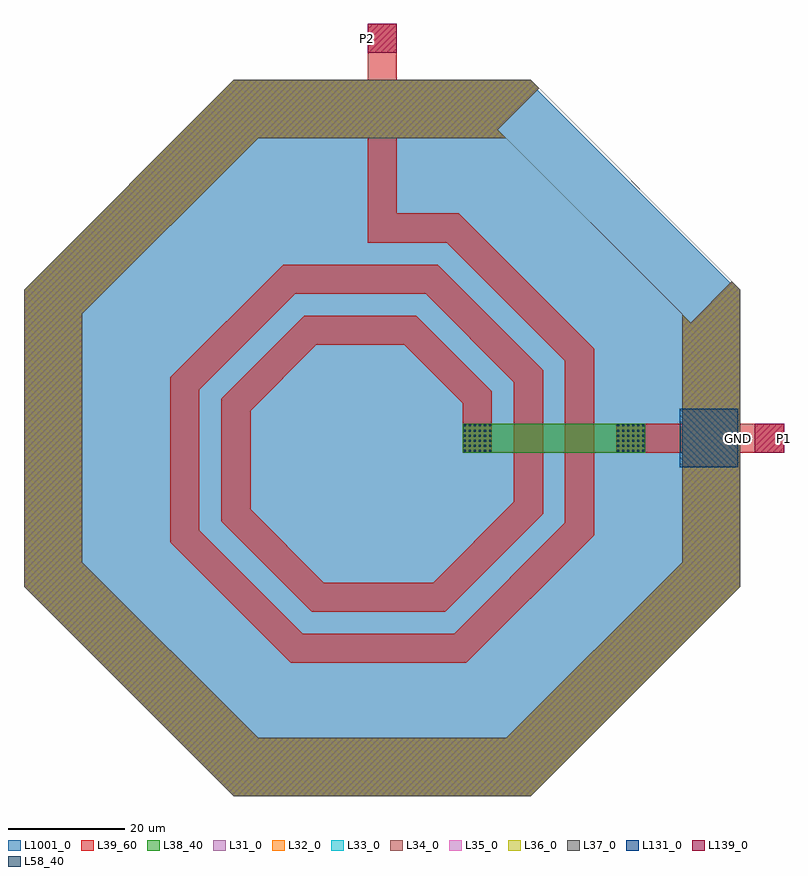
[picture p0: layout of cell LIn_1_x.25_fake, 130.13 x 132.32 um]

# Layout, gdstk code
import gdstk
lib = gdstk.Library(unit=1e-6, precision=1e-09)
def R(c, l, rs):  # rectangles x0, y0, x1, y1
    for r in rs: c.add(gdstk.rectangle(r[:2], r[2:], *l))
def A(c, l, x, y, w, h, nx, ny, dx, dy):  # array of equal rectangles
    R(c, l, [(x+i*dx, y+j*dy, x+i*dx+w, y+j*dy+h) for i in range(nx) for j in range(ny)])
def P(c, l, *ps):  # polygons
    for p in ps: c.add(gdstk.Polygon(p, *l))
L31_0 = (31, 0)
L32_0 = (32, 0)
L33_0 = (33, 0)
L34_0 = (34, 0)
L35_0 = (35, 0)
L36_0 = (36, 0)
L37_0 = (37, 0)
L38_40 = (38, 40)
L39_60 = (39, 60)
L58_40 = (58, 40)
L131_0 = (131, 0)
L139_0 = (139, 0)
L1001_0 = (1001, 0)

lin_1_x_25_fake = lib.new_cell('LIn_1_x.25_fake')
P(lin_1_x_25_fake, L31_0, [(52.8,19.8),(59.871,26.871),(25.406,61.336),(-25.406,61.336),(-61.336,25.406),(-61.336,-25.406),(-25.406,-61.336),(25.406,-61.336),(61.336,-25.406),(61.336,25.406),(26.871,59.871),(19.8,52.8),(51.336,21.264),(51.336,-21.264),(21.264,-51.336),(-21.264,-51.336),(-51.336,-21.264),(-51.336,21.264),(-21.264,51.336),(21.264,51.336)])
P(lin_1_x_25_fake, L32_0, [(52.8,19.8),(59.871,26.871),(25.406,61.336),(-25.406,61.336),(-61.336,25.406),(-61.336,-25.406),(-25.406,-61.336),(25.406,-61.336),(61.336,-25.406),(61.336,25.406),(26.871,59.871),(19.8,52.8),(51.336,21.264),(51.336,-21.264),(21.264,-51.336),(-21.264,-51.336),(-51.336,-21.264),(-51.336,21.264),(-21.264,51.336),(21.264,51.336)])
P(lin_1_x_25_fake, L33_0, [(52.8,19.8),(59.871,26.871),(25.406,61.336),(-25.406,61.336),(-61.336,25.406),(-61.336,-25.406),(-25.406,-61.336),(25.406,-61.336),(61.336,-25.406),(61.336,25.406),(26.871,59.871),(19.8,52.8),(51.336,21.264),(51.336,-21.264),(21.264,-51.336),(-21.264,-51.336),(-51.336,-21.264),(-51.336,21.264),(-21.264,51.336),(21.264,51.336)])
P(lin_1_x_25_fake, L34_0, [(52.8,19.8),(59.871,26.871),(25.406,61.336),(-25.406,61.336),(-61.336,25.406),(-61.336,-25.406),(-25.406,-61.336),(25.406,-61.336),(61.336,-25.406),(61.336,25.406),(26.871,59.871),(19.8,52.8),(51.336,21.264),(51.336,-21.264),(21.264,-51.336),(-21.264,-51.336),(-51.336,-21.264),(-51.336,21.264),(-21.264,51.336),(21.264,51.336)])
P(lin_1_x_25_fake, L35_0, [(52.8,19.8),(59.871,26.871),(25.406,61.336),(-25.406,61.336),(-61.336,25.406),(-61.336,-25.406),(-25.406,-61.336),(25.406,-61.336),(61.336,-25.406),(61.336,25.406),(26.871,59.871),(19.8,52.8),(51.336,21.264),(51.336,-21.264),(21.264,-51.336),(-21.264,-51.336),(-51.336,-21.264),(-51.336,21.264),(-21.264,51.336),(21.264,51.336)])
P(lin_1_x_25_fake, L36_0, [(52.8,19.8),(59.871,26.871),(25.406,61.336),(-25.406,61.336),(-61.336,25.406),(-61.336,-25.406),(-25.406,-61.336),(25.406,-61.336),(61.336,-25.406),(61.336,25.406),(26.871,59.871),(19.8,52.8),(51.336,21.264),(51.336,-21.264),(21.264,-51.336),(-21.264,-51.336),(-51.336,-21.264),(-51.336,21.264),(-21.264,51.336),(21.264,51.336)])
P(lin_1_x_25_fake, L37_0, [(52.8,19.8),(59.871,26.871),(25.406,61.336),(-25.406,61.336),(-61.336,25.406),(-61.336,-25.406),(-25.406,-61.336),(25.406,-61.336),(61.336,-25.406),(61.336,25.406),(26.871,59.871),(19.8,52.8),(51.336,21.264),(51.336,-21.264),(21.264,-51.336),(-21.264,-51.336),(-51.336,-21.264),(-51.336,21.264),(-21.264,51.336),(21.264,51.336)])
R(lin_1_x_25_fake, L38_40, [(13.79,-2.5,45.04,2.5)])
P(lin_1_x_25_fake, L38_40, [(52.8,19.8),(59.871,26.871),(25.406,61.336),(-25.406,61.336),(-61.336,25.406),(-61.336,-25.406),(-25.406,-61.336),(25.406,-61.336),(61.336,-25.406),(61.336,25.406),(26.871,59.871),(19.8,52.8),(51.336,21.264),(51.336,-21.264),(21.264,-51.336),(-21.264,-51.336),(-51.336,-21.264),(-51.336,21.264),(-21.264,51.336),(21.264,51.336)])
R(lin_1_x_25_fake, L39_60, [(40.04,-2.5,68.79,2.5), (-2.5,33.48,2.5,70.98)])
P(lin_1_x_25_fake, L39_60, [(13.79,-2.5),(18.79,-2.5),(18.79,8.051),(5.861,20.98),(-13.331,20.98),(-27.54,6.765),(-27.54,-14.235),(-12.051,-29.73),(10.766,-29.73),(27.54,-12.956),(27.54,11.67),(9.486,29.73),(-16.956,29.73),(-36.29,10.39),(-36.29,-17.861),(-15.671,-38.48),(14.391,-38.48),(36.29,-16.581),(36.29,15.295),(13.111,38.48),(0,38.48),(0,33.48),(11.039,33.48),(31.29,13.225),(31.29,-14.509),(12.319,-33.48),(-13.599,-33.48),(-31.29,-15.789),(-31.29,8.32),(-14.884,24.73),(7.414,24.73),(22.54,9.6),(22.54,-10.884),(8.694,-24.73),(-9.979,-24.73),(-22.54,-12.165),(-22.54,4.695),(-11.259,15.98),(3.789,15.98),(13.79,5.979)],
  [(52.8,19.8),(59.871,26.871),(25.406,61.336),(-25.406,61.336),(-61.336,25.406),(-61.336,-25.406),(-25.406,-61.336),(25.406,-61.336),(61.336,-25.406),(61.336,25.406),(26.871,59.871),(19.8,52.8),(51.336,21.264),(51.336,-21.264),(21.264,-51.336),(-21.264,-51.336),(-51.336,-21.264),(-51.336,21.264),(-21.264,51.336),(21.264,51.336)])
A(lin_1_x_25_fake, L58_40, 13.94, -2.35, 0.35, 0.35, 6, 6, 0.87, 0.87)
A(lin_1_x_25_fake, L58_40, 40.19, -2.35, 0.35, 0.35, 6, 6, 0.87, 0.87)
R(lin_1_x_25_fake, L131_0, [(50.98,-5,60.98,5)])
R(lin_1_x_25_fake, L139_0, [(63.79,-2.5,68.79,2.5), (-2.5,65.98,2.5,70.98)])
P(lin_1_x_25_fake, L1001_0, [(60.955,25.249),(25.249,60.955),(-25.249,60.955),(-60.955,25.249),(-60.955,-25.249),(-25.249,-60.955),(25.249,-60.955),(60.955,-25.249)],
  [(60.955,25.249),(25.249,60.955),(-25.249,60.955),(-60.955,25.249),(-60.955,-25.249),(-25.249,-60.955),(25.249,-60.955),(60.955,-25.249)],
  [(60.955,25.249),(25.249,60.955),(-25.249,60.955),(-60.955,25.249),(-60.955,-25.249),(-25.249,-60.955),(25.249,-60.955),(60.955,-25.249)],
  [(60.955,25.249),(25.249,60.955),(-25.249,60.955),(-60.955,25.249),(-60.955,-25.249),(-25.249,-60.955),(25.249,-60.955),(60.955,-25.249)],
  [(60.955,25.249),(25.249,60.955),(-25.249,60.955),(-60.955,25.249),(-60.955,-25.249),(-25.249,-60.955),(25.249,-60.955),(60.955,-25.249)],
  [(60.955,25.249),(25.249,60.955),(-25.249,60.955),(-60.955,25.249),(-60.955,-25.249),(-25.249,-60.955),(25.249,-60.955),(60.955,-25.249)],
  [(60.955,25.249),(25.249,60.955),(-25.249,60.955),(-60.955,25.249),(-60.955,-25.249),(-25.249,-60.955),(25.249,-60.955),(60.955,-25.249)],
  [(60.955,25.249),(25.249,60.955),(-25.249,60.955),(-60.955,25.249),(-60.955,-25.249),(-25.249,-60.955),(25.249,-60.955),(60.955,-25.249)],
  [(60.955,25.249),(25.249,60.955),(-25.249,60.955),(-60.955,25.249),(-60.955,-25.249),(-25.249,-60.955),(25.249,-60.955),(60.955,-25.249)])
lin_1_x_25_fake.add(gdstk.Label('P1', (68.79,0), layer=139, texttype=0))
lin_1_x_25_fake.add(gdstk.Label('P2', (-2.5,68.478), layer=139, texttype=0))
lin_1_x_25_fake.add(gdstk.Label('GND', (60.978,0), layer=131, texttype=0))

lib.write_gds('LIn_1_x.25_fake.gds')
